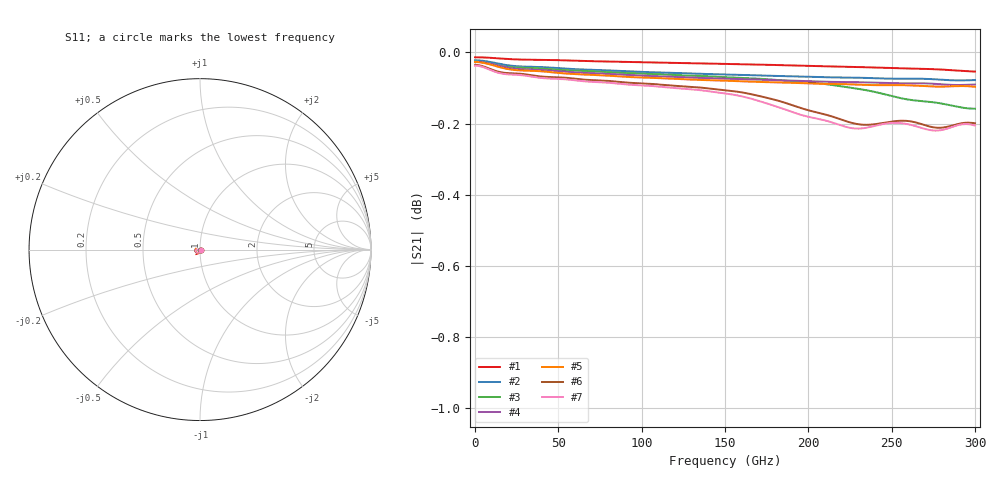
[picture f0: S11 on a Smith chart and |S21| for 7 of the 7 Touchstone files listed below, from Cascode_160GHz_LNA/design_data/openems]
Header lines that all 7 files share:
#  Hz  S  RI  R  50
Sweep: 100 MHz to 300 GHz
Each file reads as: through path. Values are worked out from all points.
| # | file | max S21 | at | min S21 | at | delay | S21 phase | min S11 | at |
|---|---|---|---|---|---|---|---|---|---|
| 1 | TL_40_um.s2p | -0.01 dB | 100 MHz | -0.1 dB | 300 GHz | 342 fs | -18 deg at 150.1 GHz | -56.2 dB | 100 MHz |
| 2 | TL_90um.s2p | -0.02 dB | 100 MHz | -0.1 dB | 290.6 GHz | 656 fs | -36 deg at 150.1 GHz | -51.7 dB | 100 MHz |
| 3 | TL_100_um.s2p | -0.03 dB | 100 MHz | -0.2 dB | 300 GHz | 727 fs | -39 deg at 150.1 GHz | -50.3 dB | 100 MHz |
| 4 | TL_110um.s2p | -0.03 dB | 100 MHz | -0.1 dB | 289.9 GHz | 781 fs | -42 deg at 150.1 GHz | -50.5 dB | 100 MHz |
| 5 | TL_120um.s2p | -0.03 dB | 100 MHz | -0.1 dB | 300 GHz | 843 fs | -46 deg at 150.1 GHz | -49.9 dB | 100 MHz |
| 6 | TL_150_um.s2p | -0.03 dB | 100 MHz | -0.2 dB | 278.4 GHz | 1.04 ps | -57 deg at 150.1 GHz | -47.6 dB | 100 MHz |
| 7 | TL_160_um.s2p | -0.04 dB | 100 MHz | -0.2 dB | 276.5 GHz | 1.11 ps | -60 deg at 150.1 GHz | -47.1 dB | 100 MHz |
